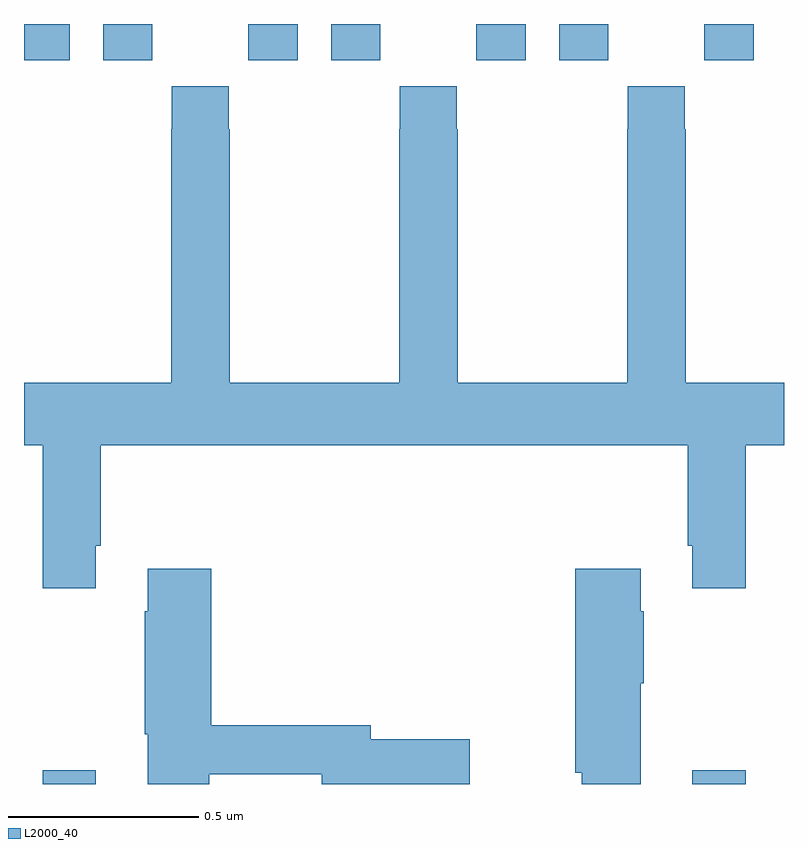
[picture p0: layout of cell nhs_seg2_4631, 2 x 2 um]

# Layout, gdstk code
import gdstk
lib = gdstk.Library(unit=1e-6, precision=1e-09)
def R(c, l, rs):  # rectangles x0, y0, x1, y1
    for r in rs: c.add(gdstk.rectangle(r[:2], r[2:], *l))
def P(c, l, *ps):  # polygons
    for p in ps: c.add(gdstk.Polygon(p, *l))
L2000_40 = (2000, 40)

nhs_seg2_4631 = lib.new_cell('nhs_seg2_4631')
R(nhs_seg2_4631, L2000_40, [(169.049,590.8,169.189,590.836), (170.759,590.8,170.899,590.836), (169,592.704,169.12,592.8), (169.208,592.704,169.338,592.8), (169.59,592.704,169.72,592.8), (169.808,592.704,169.938,592.8), (170.19,592.704,170.32,592.8), (170.408,592.704,170.538,592.8), (170.79,592.704,170.92,592.8)])
P(nhs_seg2_4631, L2000_40, [(169.189,591.427),(169.202,591.427),(169.202,591.692),(170.747,591.692),(170.747,591.427),(170.759,591.427),(170.759,591.315),(170.899,591.315),(170.899,591.692),(171,591.692),(171,591.856),(170.742,591.856),(170.742,592.523),(170.739,592.523),(170.739,592.636),(170.589,592.636),(170.589,592.523),(170.587,592.523),(170.587,591.856),(170.142,591.856),(170.142,592.523),(170.139,592.523),(170.139,592.636),(169.989,592.636),(169.989,592.523),(169.987,592.523),(169.987,591.856),(169.542,591.856),(169.542,592.523),(169.539,592.523),(169.539,592.636),(169.389,592.636),(169.389,592.523),(169.387,592.523),(169.387,591.856),(169,591.856),(169,591.692),(169.049,591.692),(169.049,591.315),(169.189,591.315)],
  [(169.488,590.826),(169.784,590.826),(169.784,590.8),(170.173,590.8),(170.173,590.918),(169.912,590.918),(169.912,590.954),(169.493,590.954),(169.493,591.367),(169.325,591.367),(169.325,591.254),(169.318,591.254),(169.318,590.931),(169.325,590.931),(169.325,590.8),(169.488,590.8)],
  [(170.623,591.065),(170.631,591.065),(170.631,591.254),(170.623,591.254),(170.623,591.367),(170.45,591.367),(170.45,590.829),(170.468,590.829),(170.468,590.8),(170.623,590.8)])

lib.write_gds('nhs_seg2_4631.gds')
